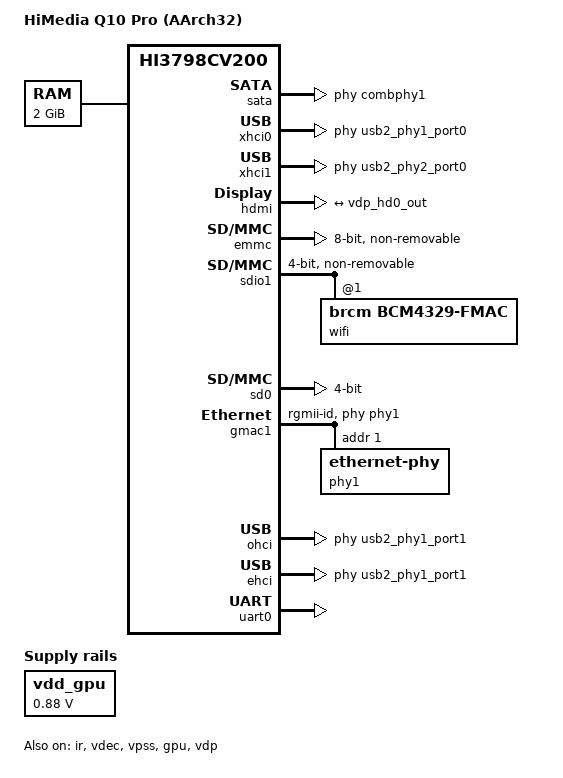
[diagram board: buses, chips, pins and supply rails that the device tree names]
// SPDX-License-Identifier: GPL-2.0
/*
 * DTS for the HiMedia Q10 Pro (HiSilicon Hi3798CV200) — 32-bit ARM (AArch32)
 *
 * ⚠️ UNTESTED ON HARDWARE. Every address, interrupt and clock below is taken from a
 * primary source — the stock firmware's own device tree (extracted from boot.img), the
 * Hi3798CV200 register map in the vendor BSP, and a live read-only recon of the box —
 * but nothing here has been booted. Where a value is a guess it says so.
 *
 * ⭐ Why AArch32 rather than arm64: the stock bootloader is a 32-bit U-Boot and its `bootm`
 * rejects a foreign architecture — the stock kernel uImage is `arch=2` (ARM). Replacing the
 * loader would need DDR timing that is not published plus a serial console, so 32-bit is the
 * only route that keeps the box closed. All four cores still come up, because the secure
 * firmware provides PSCI (trustedcore exports hisi_psci_cpu_on/_off/_suspend and references
 * bl31) and PSCI has an AArch32 SMC calling convention.
 *
 * Requires: 0001-clk-hisilicon-crg-hi3798cv200-add-SATA-clocks.patch
 *           (mainline does not register the SATA clocks)
 *           0002-phy-histb-combphy-allow-32-bit-arm.patch
 *           (PHY_HISTB_COMBPHY is gated on ARM64; the driver itself is arch-neutral)
 *           hi3798cv200.dtsi from scripts/himedia/kernel/arm32/ (generated)
 *
 * Bring-up order matters. First boot should prove serial + eMMC + Ethernet only; USB3 is
 * therefore left disabled below, because an unverified PHY pairing that wedges the USB
 * controller during probe would be indistinguishable from a kernel that failed to boot.
 *
 * ref: docs/261010-himedia-q10-pro-vendor-dtb.md
 * ref: docs/261010-himedia-q10-pro-recon-findings.md
 */

/dts-v1/;

#include <dt-bindings/gpio/gpio.h>
#include <dt-bindings/phy/phy.h>
#include "hi3798cv200.dtsi"

/ {
	model = "HiMedia Q10 Pro (AArch32)";
	compatible = "himedia,q10-pro", "hisilicon,hi3798cv200";

	aliases {
		serial0 = &uart0;
		serial2 = &uart2;
	};

	chosen {
		#address-cells = <1>;
		#size-cells = <1>;
		ranges;

		/* Confirmed from the stock cmdline: console=ttyAMA0,115200 */
		stdout-path = "serial0:115200n8";

		/*
		 * ⭐ HDMI without a display driver: the stock fastboot leaves its boot-logo layer (VDP
		 * G0) scanning out this buffer, and nothing in mainline turns the VDP off. MEASURED
		 * with devmem on the running box (2026-10-11): G0_ADDR 0x7B68C000, G0_IRESO 1920x1080,
		 * G0_STRIDE 0x1E0 x 16 B = 7680, ifmt 0x68 = ARGB8888. ⚠️ G0_CBMPARA has per-pixel
		 * alpha ON (0x11FF) and fbcon draws with alpha 0, so userspace must clear palpha_en
		 * (CBMPARA = 0x01FF, then G0_UPD bit 0) or the text is transparent.
		 */
		framebuffer@7b68c000 {
			compatible = "simple-framebuffer";
			reg = <0x7b68c000 0x7e9000>;
			width = <1920>;
			height = <1080>;
			stride = <7680>;
			format = "a8r8g8b8";
		};
	};

	/*
	 * ⭐ CORE NODES REALIGNED TO THE VENDOR'S OWN DEVICE TREE (from the eMMC dump).
	 *
	 * Found by diffing our converted tree against the vendor's working one — the clue was in
	 * the backup, which had been sitting here the whole time.
	 *
	 * ⛔ 1. `clock-frequency` was MISSING. Under AArch64 the firmware programs CNTFRQ at EL3,
	 *       which is why upstream Poplar omits it. We enter in AArch32 from a 32-bit U-Boot,
	 *       and the vendor states 24 MHz explicitly — so that path evidently does NOT set
	 *       CNTFRQ. Without it the kernel has no timekeeping and dies in early init, silently.
	 * ⚠️ 2. `arm,armv7-timer` is the AArch32 spelling; `armv8-timer` is the arm64 one.
	 * ⚠️ 3. The vendor uses LEVEL_HIGH with a 4-CPU mask (0xf04) and only the two physical
	 *       PPIs. Ours used LEVEL_LOW and four PPIs, copied from the arm64 tree.
	 */
	timer {
		compatible = "arm,armv7-timer";
		interrupts = <1 13 0xf04>,
			     <1 14 0xf04>;
		clock-frequency = <24000000>;
	};

	memory@0 {
		device_type = "memory";
		/*
		 * 2 GB. The stock cmdline reserves 56 MB for the vendor media zone
		 * (mmz=ddr,0,0,56M) and boots with mem=1993M; mainline has no VPU driver,
		 * so that reservation is not needed and the full 2 GB is given to Linux.
		 */
		reg = <0x0 0x80000000>;
	};

	/*
	 * ⭐ The boot log, kept in RAM so ANDROID can read it back after a reset (Tim's idea,
	 * 2026-10-10: "can via android, give us these boot log?"). pstore/ramoops streams the
	 * console into this block live; a watchdog reset keeps DRAM powered; with the stick pulled
	 * the box boots stock Android, whose own `himd.l` (vendor /dev/hi_mem) dumps physical RAM.
	 *
	 * ⛔ The address is MEASURED, not chosen: it is in the free tail of the vendor media zone
	 * (MMZ "ddr" 0x77C00000-0x7B3FFFFF, highest allocation 0x7A582FFF behind the framebuffer).
	 * Markers written at 0x7A800000..0x7B380000 all survived a reset + U-Boot + a full Android
	 * boot. Not at 0x7B300000 itself — that held a byte-ramp that looks like a DDR-training write.
	 *
	 * Layout (fs/pstore/ram.c): 4 x 128 KiB panic/oops records, then the 512 KiB console zone
	 * at 0x7A880000. mem-type 1 = unbuffered: a watchdog reset flushes no cache.
	 * Decode with `bun run himedia:ramoops`.
	 */
	reserved-memory {
		#address-cells = <1>;
		#size-cells = <1>;
		ranges;

		/* The HDMI scan-out buffer above (1920 x 1080 x 4 = 0x7E9000): Linux must never reuse it. */
		framebuffer@7b68c000 {
			reg = <0x7b68c000 0x7e9000>;
			no-map;
		};

		ramoops@7a800000 {
			compatible = "ramoops";
			reg = <0x7a800000 0x100000>;
			console-size = <0x80000>;
			record-size = <0x20000>;
			mem-type = <1>;
		};
	};
};

/*
 * SATA — the reason this box is worth converting.
 *
 * Confirmed: base 0xf9900000 (soc-relative 0x9900000) and IRQ 0x46 both appear in the
 * stock device tree, and the stock tree also uses compatible "generic-ahci", so the
 * mainline generic AHCI driver is the right one.
 *
 * The four clocks are PERI_CRG42 (CRG offset 0xa8) bits 0..3 and the four resets are
 * bits 8..11 of the same register, per the Hi3798CV200 register map:
 *   bit 0 sata_bus_cken        bit 8  sata_bus_srst_req
 *   bit 1 sata_rx0_cken        bit 9  sata_cko_alive_srst_req
 *   bit 2 sata_cko_alive_cken  bit 10 sata_rx0_srst_req
 *   bit 3 sata_tx0_cken        bit 11 sata0_srst_req
 */
&soc {
	/*
	 * ⭐ The SP805 at 0xf8a2c000, bound to mainline's sp805_wdt for ONE reason: its restart
	 * handler. Without it `reboot` (and panic=5) stops at "Restarting system" forever — the
	 * vendor kernel restarts by arming this very watchdog (mach-hi3798cv2x/core.c), mainline
	 * had no handler at all, and a box rebooted that way stayed dead (2026-10-11 16:17).
	 * The kernel never feeds it (watchdog.handle_boot_enabled=0 in bootargs); probe reloads it
	 * with timeout-sec = 150, the same window as init.sh's rootfs safety net (reset ~300 s).
	 * Clock: 24 MHz — the rate every devmem arming in this repo already assumes.
	 */
	watchdog@8a2c000 {
		compatible = "arm,sp805", "arm,primecell";
		reg = <0x8a2c000 0x1000>;
		/*
		 * ⛔ HiSilicon's SP805 has ALL-ZERO PrimeCell ID registers (0xfe0..0xffc, read on the
		 * box 2026-10-11), so the AMBA bus cannot identify it and defers forever ("deferred
		 * probe pending"). Give the ID the driver matches: part 0x805, ARM, rev 1.
		 */
		arm,primecell-periphid = <0x00141805>;
		clocks = <&crg HISTB_OSC_CLK>, <&crg HISTB_APB_CLK>;
		clock-names = "wdog_clk", "apb_pclk";
		timeout-sec = <150>;
	};

	sata: sata@9900000 {
		compatible = "generic-ahci";
		reg = <0x9900000 0x1000>;
		interrupts = <GIC_SPI 70 IRQ_TYPE_LEVEL_HIGH>;
		clocks = <&crg HISTB_SATA_BUS_CLK>,
			 <&crg HISTB_SATA_RX0_CLK>,
			 <&crg HISTB_SATA_CKO_ALIVE_CLK>,
			 <&crg HISTB_SATA_TX0_CLK>;
		resets = <&crg 0xa8 8>,
			 <&crg 0xa8 9>,
			 <&crg 0xa8 10>,
			 <&crg 0xa8 11>;
		reset-names = "bus", "cko-alive", "rx0", "sata0";
		phys = <&combphy1 PHY_TYPE_SATA>;
		phy-names = "sata-phy";
		/*
		 * ⛔ DISABLED for bring-up, deliberately — this is a bisect, not a retreat.
		 *
		 * The kernel boots, configures eth0 from ip= (a late_initcall, so it definitely
		 * ran) and then never execs init, while NOT panicking: steady 8/8 pings with
		 * panic=5, so it is blocked rather than dying. A probe that never returns fits
		 * exactly, and this node is the most suspect thing in the tree: it is new, its
		 * four clocks were added by us, and no disk is attached for the link to train.
		 *
		 * ⚠️ There is also a known gap: the vendor's SATA clock driver pokes
		 * PERI_CRG98_COMBPHY to 0xd00 for a 25 MHz VPLL, which we approximated with
		 * assigned-clock-rates on COMBPHY1_CLK and never verified as equivalent.
		 *
		 * If init runs with this disabled, the SATA path is the hang and that register
		 * write is the first thing to check.
		 *
		 * ⭐ ENABLED 2026-10-11: the kernel now boots to userspace reliably and a disk is in the
		 * bay (Tim). Shipped as its own image AFTER the first ssh boot, so a hang here can only
		 * mean SATA. Fallback: the previous uImage stays on the stick as uImage.ssh-ok.
		 */
		status = "okay";
	};

	/*
	 * USB 3.0. Both controllers exist and both are live under the stock firmware.
	 * This box's stock kernel binds the SuperSpeed port on xhci1 (f98b0000), but the
	 * combo-PHY pairing is the open question — see the note under &combphy1 — so both
	 * stay disabled until first boot succeeds without them.
	 *
	 * Needs no kernel patch: mainline already registers both instances' clocks
	 * (the plain set for xhci0, the *_CLK1 set for xhci1) as gates on CRG 0xb0.
	 */
	xhci0: usb@98a0000 {
		compatible = "hisilicon,hi3798cv200-xhci";
		reg = <0x98a0000 0x10000>;
		interrupts = <GIC_SPI 69 IRQ_TYPE_LEVEL_HIGH>;
		clocks = <&crg HISTB_USB3_BUS_CLK>,
			 <&crg HISTB_USB3_UTMI_CLK>,
			 <&crg HISTB_USB3_PIPE_CLK>,
			 <&crg HISTB_USB3_SUSPEND_CLK>;
		clock-names = "bus", "utmi", "pipe", "suspend";
		resets = <&crg 0xb0 12>;
		reset-names = "soft";
		/*
		 * Side USB3 socket (the only controller with a SuperSpeed lane: combphy0 is USB3-only).
		 * ⭐ usb2_phy1_port0, NOT usb2_phy2_port0 (the old guess): the vendor's host0 init writes
		 * PERI_USB0 (0x120) and releases USB2_PHY01_SRST_TREQ0 (CRG 0xbc bit 8) — vendor
		 * clk-hiusb3.c; docs/261011-himedia-ports-wifi-smp-research.md §2.2.
		 * ⛔ "phys-names" (sic) is what xhci-histb.c reads for its PHY quirks; keep both.
		 * CRG 0xb0 on the running box = 0x007D0060: host0's unmodelled bus gates (bits 5,6) are
		 * already on; only REF_CKEN0 (bit 1) is off, as REF_CKEN1 is for the working xhci1.
		 */
		phys = <&usb2_phy1_port0>, <&combphy0 PHY_TYPE_USB3>;
		phy-names = "usb", "combo";
		phys-names = "inno", "combo";
		status = "okay";
	};

	xhci1: usb@98b0000 {
		compatible = "hisilicon,hi3798cv200-xhci";
		reg = <0x98b0000 0x10000>;
		interrupts = <GIC_SPI 85 IRQ_TYPE_LEVEL_HIGH>;
		clocks = <&crg HISTB_USB3_BUS_CLK1>,
			 <&crg HISTB_USB3_UTMI_CLK1>,
			 <&crg HISTB_USB3_PIPE_CLK1>,
			 <&crg HISTB_USB3_SUSPEND_CLK1>;
		clock-names = "bus", "utmi", "pipe", "suspend";
		/*
		 * ⛔ MEASURED from the vendor's own bring-up of this controller ("usb3 host1",
		 * drivers/hisilicon/clk/hi3798cv2x/clk-hiusb3.c hiclk_enable_usb3_host1):
		 *   reset  = USB3_VCC_SRST_REQ1, CRG 0xb0 BIT 28 — the old guess here was bit 13;
		 *   phy    = the ONE-port USB2 PHY (USB2_PHY2_SRST_REQ bit 6, _TREQ bit 10,
		 *            inno_phy_config_1p) = usb2_phy2, not usb2_phy1 port 1.
		 * Wrong PHY = the controller registers (ramoops log: bus 3/4, 1 port each) but its port
		 * is never powered, so the onboard Genesys hub never enumerates. Android's working
		 * CRG 0xb0 = 0x007f007f (all host1 clocks on, bit 28 clear) and 0xbc = 0x5 agree.
		 */
		resets = <&crg 0xb0 28>;
		reset-names = "soft";
		/*
		 * ⚠️ Deliberately NO combo phy. combphy1 is taken by SATA above, and these
		 * are the same lane — so this controller is USB 2.0 only once SATA is in use.
		 * ⚠️ GUESS: both the usb2-phy pairing and reset bit 13 are unverified.
		 */
		phys = <&usb2_phy2_port0>;
		phy-names = "inno";
		/*
		 * ⛔ "phys-names" is NOT a typo here — it is what xhci-histb.c reads
		 * (of_property_match_string(np, "phys-names", "inno")) to switch the inno USB2 PHY
		 * interface to UTMI 8-bit/no-ULPI. Standard `phy-names` never triggers it.
		 */
		phys-names = "inno";
		/*
		 * ⭐ ENABLED, MEASURED: the boot stick ("USB DISK 3.0" 13fe:6300) sits on THIS controller,
		 * behind an onboard Genesys 05e3:0608 4-port hub (himedia:android-probe, 2026-10-10).
		 * ⚠️ Clocks are mainline's HISTB_USB3_*_CLK1; the vendor clocks this instance with its
		 * USB2 clock (0xbc). If the controller is unclocked a register read can stall the bus —
		 * that would read as a kernel regression (~3:30), not a silent failure.
		 */
		status = "okay";
	};
};

/*
 * combphy1 carries SATA.
 *
 * The mux is already upstream — hi3798cv200.dtsi declares
 * `hisilicon,mode-select-bits = <0x0008 11 (0x3 << 11)>`, which is exactly the vendor's
 * PERI_CTRL offset 0x8 with BIT(11)|BIT(12), encoding 00=PCIe, 01=USB3, 10=SATA. So only
 * the clock rate needs changing: the vendor's SATA path runs this PHY from the 25 MHz
 * VPLL, while the dtsi default is 100 MHz.
 *
 * The combphy1 clock's parent is a mux over {100m, 25m} with CLK_SET_RATE_PARENT, so
 * asking for 25 MHz here selects the 25 MHz parent. (The reference port instead points
 * assigned-clock-parents at driver-private clock ids 0x50/0x42, which are not part of the
 * published binding — this form avoids depending on those.)
 *
 * ⛔ Taking this lane for SATA costs the second USB3 controller its SuperSpeed capability.
 *    That is a hardware constraint, not a configuration choice.
 */
&combphy1 {
	assigned-clocks = <&crg HISTB_COMBPHY1_CLK>;
	assigned-clock-rates = <25000000>;
};

/* eMMC — 16 GB, non-removable, 8-bit. */
&emmc {
	/*
	 * ⚠️ NO pinctrl. Poplar points at a board pinctrl file that does not exist for this
	 * box, so the pads are left as the bootloader muxed them. eMMC is the device the
	 * bootloader itself just read the kernel from, so it is the safest case for this
	 * assumption — but it IS an assumption, and a first boot that cannot find a root
	 * device should suspect it.
	 */
	bus-width = <8>;
	cap-mmc-highspeed;
	non-removable;
	status = "okay";
};

/*
 * WiFi: AP6255 (BCM43455c0) on SDIO1. The stock bcmdhd logged WL_REG_ON = -1 (no GPIO: the
 * module enable is tied or follows the controller's PWREN) and ran on the in-band SDIO IRQ,
 * so neither a pwrseq nor an out-of-band interrupt is described. First bring-up at SD
 * high-speed 50 MHz: the plain dw-mshc glue has no tuning, so no SDR104 yet (vendor ran 100 MHz).
 * Firmware: /lib/firmware/brcm/brcmfmac43455-sdio.{bin,himedia,q10-pro.txt,clm_blob}.
 */
&sdio1 {
	bus-width = <4>;
	max-frequency = <50000000>;
	non-removable;
	cap-sd-highspeed;
	cap-sdio-irq;
	keep-power-in-suspend;
	disable-wp;
	#address-cells = <1>;
	#size-cells = <0>;
	status = "okay";

	wifi@1 {
		compatible = "brcm,bcm4329-fmac";
		reg = <1>;
	};
};

/* SD card slot (the box has one on the side). */
&sd0 {
	bus-width = <4>;
	cap-sd-highspeed;
	status = "okay";
};

/*
 * Gigabit Ethernet. The stock kernel binds f9841000.ethernet, i.e. gmac1 — not gmac0 —
 * and the stock device tree gives phy-mode "rgmii" — but its PHY address is wrong (see below).
 */
&gmac1 {
	phy-handle = <&phy1>;
	phy-mode = "rgmii-id";
	/*
	 * ⛔ Mainline does not read this board's MAC, and the address below is SOURCED, not
	 * copied from a running system: it is ASCII text at offset 0 of the `deviceinfo`
	 * partition in the eMMC backup, beside the serial (HMDB501805000639) and the HDCP
	 * key blob at DRMAddr=0x4000. A plain-text vendor blob at a fixed offset in a
	 * proprietary partition is not an nvmem cell any upstream driver knows how to read,
	 * so pinning it here is the correct and only fix.
	 *
	 * ⛔ RETRACTED: this comment used to say "measured on the first successful boot: the
	 * kernel came up as 02:00:00:00:55:01 (a Sigmastar OUI)". That is FALSE. There has
	 * never been a successful boot, and 02:00:00:00:55:01 is the IP CAMERA at
	 * 192.168.1.55 — verified against `arp -an` on 2026-10-10, byte for byte. It was the
	 * same camera that cost five build-and-boot rounds. Do not read it as evidence that
	 * the mainline gmac driver assigns a random address; nothing here was ever measured
	 * from this board under mainline.
	 * ref: docs/261010-himedia-backup-forensics-and-boot-scenarios.md
	 */
	local-mac-address = [00 66 de 0e fe b7];
	/*
	 * ⛔ The PHY must be a DIRECT child of the gmac node — no `mdio {}` wrapper.
	 * hix5hd2_gmac registers its MDIO bus on the gmac node itself
	 * (`of_mdiobus_register(bus, dev->of_node)`) and of_mdio scans direct children only, so a
	 * wrapper has no `reg`, is skipped, the PHY is never registered and open() fails. This
	 * is how the box booted through every initcall and still never appeared on the LAN.
	 * Poplar (`&gmac1 { phy@3 }`) and the vendor arm32 tree (`higmac1 { ethernet_phy@1 {
	 * reg = <3>; } }`) both use this shape.
	 */
	#address-cells = <1>;
	#size-cells = <0>;
	/*
	 * ⛔ Required once the "phy" reset resolves (RESET_TI_SYSCON=y): the driver then reads
	 * this property and fails probe with `goto out_disable_clk` if it is absent.
	 * Order: pre, pulse, post-deassert, in microseconds.
	 *
	 * ⭐ The VENDOR's timing for this SoC, not Poplar's. higmac/board.c holds the PHY in reset
	 * for 20 ms and waits 50 ms before any MDIO access ("delay some time to ensure later MDIO
	 * access"); Poplar's 10/30 ms gave verdict DOWN (2:05, 2026-10-10) — eth0 registered but
	 * open() could not attach the PHY. Post-deassert doubled again for margin; a longer wait
	 * cannot hurt a PHY, a shorter one can leave it silent on MDIO.
	 */
	hisilicon,phy-reset-delays-us = <10000 20000 100000>;
	status = "okay";

	/*
	 * ⛔ MDIO ADDRESS 1, MEASURED — not 3. The stock vendor kernel registers this board's PHY
	 * as `f9841000.etherne:01`, id 0x001cc915 (Realtek RTL8211E), link Up 1Gbps/Full
	 * (himedia:android-probe, 2026-10-10). The vendor DT says `reg = <0x03>` on a node it names
	 * `ethernet_phy@1`; we copied the 3, the MDIO scan found nothing there, phy_connect failed
	 * and eth0 stayed DOWN (FAST verdict, 2:05). Poplar's 3 was never this board's number.
	 *
	 * ⭐ phy-mode "rgmii-id" — MEASURED live on 2026-10-11 (q10-mii + 10 router pings per
	 * setting): the RTL8211E's strap pins select BOTH clock delays (ext 0xa4/0x1c straps 10/10,
	 * both-forced 10/10, either alone 0/10, none 0/10). Plain "rgmii" makes mainline's
	 * rtl8211e_config_init force them OFF, which is what kept RX at 0 on 2026-10-10.
	 * hix5hd2 accepts rgmii-id only with patch 0003. docs/261011-himedia-ssh-rootfs.md
	 */
	phy1: ethernet-phy@1 {
		reg = <1>;
	};
};

/*
 * ⭐ USB 2.0 host, so PID 1 can write the kernel log to the boot stick. The stock U-Boot loads
 * our uImage through EHCI ("USB EHCI %x.%02x" in fastboot.img), so this controller pair is the
 * one already proven to see this stick. Poplar enables exactly these two, nothing more.
 * xHCI stays disabled: its usb2-phy pairing is still a guess.
 */
/*
 * ⛔ RETRACTED (2026-10-10): this gave EHCI/OHCI both usb2_phy1 ports. It changed nothing, and
 * the android-probe showed why — the stick is on xHCI f98b0000, behind an onboard Genesys hub;
 * EHCI has nothing attached in the vendor kernel. Port 1 belongs to xhci1 below, alone.
 * Original note, kept for the record: BOTH usb2_phy1 ports, not just port 0 as Poplar has it. The vendor's host-controller init
 * for this SoC (drivers/hisilicon/clk/hi3798cv2x/clk-hiusb2.c) holds and then cancels the reset
 * of PHY port **1** (USB2_PHY01_SRST_TREQ1, CRG 0xbc bit 9) — port 0 is the OTG-muxed one. With
 * only port 0 listed, nothing ever took port 1 out of reset: root hubs registered, no device in
 * 30 s (NO_STICK twice, 2026-10-10). usb_phy_roothub_alloc() inits and powers every phandle in
 * `phys`, so listing both is the whole fix. xhci1 also names port 1 but stays disabled.
 */
/*
 * ⛔ The comment above said "listing port 1 is the whole fix" but these overrides never set it,
 * so EHCI/OHCI kept the dtsi's port 0 (now xhci0's) and PHY port 1 stayed in reset
 * (CRG 0xbc = 0x205 vs Android's 0x005). That port is the SIDE USB2 socket: releasing bit 9 by
 * hand enumerated a Logitech keyboard/trackpad receiver on OHCI at once (2026-10-12, Tim plugged it).
 */
&ohci {
	phys = <&usb2_phy1_port1>;
	status = "okay";
};

&ehci {
	phys = <&usb2_phy1_port1>;
	status = "okay";
};

&uart0 {
	status = "okay";
};

&ir {
	status = "okay";
};

/*
 * ⛔ PCIe stays DISABLED. It is the third option on combphy1's mux, so enabling it would
 * contend with SATA — and the recon found no PCIe device on this board anyway
 * (/sys/bus/pci/devices/ is empty; the Wi-Fi module is SDIO on mmc2).
 */

/*
 * ⛔ PSCI REMOVED — the vendor device tree has no psci node whatsoever, and its kernel brings
 * all four cores up through BSP code that is not in mainline. That is evidence this firmware
 * may not expose PSCI to an AArch32 non-secure world, despite `trustedcore` containing
 * hisi_psci_* symbols (which the TEE may use internally rather than export via SMC).
 *
 * A psci node that cannot be serviced makes the kernel issue SMC calls into nothing during
 * early CPU setup, which hangs with no output. Dropping it costs SMP — the box comes up
 * single-core — which is an acceptable price for a first boot. Re-add it afterwards to see
 * whether the other three cores can be brought online.
 */
/delete-node/ &{/psci};

/*
 * ⭐ SMP the vendor way (patch 0005): SRAM boot stub at 0xffff0000 + CRG core resets, no PSCI.
 * docs/261011-himedia-ports-wifi-smp-research.md §4.
 */
&{/cpus/cpu@0} { enable-method = "hisilicon,hi3798cv200-smp"; };
&{/cpus/cpu@1} { enable-method = "hisilicon,hi3798cv200-smp"; };
&{/cpus/cpu@2} { enable-method = "hisilicon,hi3798cv200-smp"; };
&{/cpus/cpu@3} { enable-method = "hisilicon,hi3798cv200-smp"; };

/*
 * ⭐ Hardware video decode (VDEC + VPSS), patches 0008/0009 — from vdec-dt-snippet.dtsi
 * (parts A + B; part C, the dedicated pool, is skipped for bring-up: cma=128M in bootargs).
 * Drivers are MODULES: nothing here probes until `modprobe histb-vdec`.
 */
&soc {
	/*
	 * VDH video decoder + SCD (stream code detector) + BPD (bit-plane
	 * decoder, VC-1) + VDH MMU.  One register window: the driver programs
	 * all four from this single mapping (vendor sysconfig.h: VDM 0xf8c30000,
	 * SCD 0xf8c3c000, BPD 0xf8c3d000, MMU at +0xf000).
	 */
	vdec: video-codec@8c30000 {
		/* Matched by histb-vdec; see the binding added by 0008. */
		compatible = "hisilicon,hi3798cv200-vdec";

		/* Soc-relative 0x8c30000 = physical 0xf8c30000, 64 KiB. [read] */
		reg = <0x8c30000 0x10000>;

		/*
		 * Three SPIs, GIC numbers (the vendor numbers are these minus 32):
		 *   vdh = 95   decode-done / error of the pixel engine
		 *   scd = 104  stream code detector
		 *   mmu = 149  VDH MMU fault (non-secure)
		 * The driver requests "vdh" only (platform_get_irq_byname) and reads
		 * the SCD/MMU status registers from that handler; "scd" and "mmu" are
		 * required by the binding but not requested. [read] histb-vdec-core.c
		 */
		interrupts = <GIC_SPI 95 IRQ_TYPE_LEVEL_HIGH>,
			     <GIC_SPI 104 IRQ_TYPE_LEVEL_HIGH>,
			     <GIC_SPI 149 IRQ_TYPE_LEVEL_HIGH>;
		interrupt-names = "vdh", "scd", "mmu";

		/*
		 * Gates from patch 0009: CRG 0x78 bit 0, CRG 0x78 bit 1, CRG 0x88
		 * bit 0.  The driver also writes the VDH clock-select field
		 * (CRG 0x78 bits [9:8]) itself through the crg regmap, so these
		 * gates have no rate parent.
		 */
		clocks = <&crg HISTB_VDH_CLK>,
			 <&crg HISTB_VDH_DSP_CLK>,
			 <&crg HISTB_BPD_CLK>;
		clock-names = "vdh", "dsp", "bpd";

		/*
		 * crg reset cells are <register-offset bit> in OUR dtsi
		 * (#reset-cells = <2>), as in the community tree:
		 *   vdh = CRG 0x78 bit 4   decode engine
		 *   scd = CRG 0x78 bit 5   stream code detector
		 *   mfd = CRG 0x78 bit 6   main format decoding engine
		 *   bpd = CRG 0x88 bit 4   bit-plane decoder
		 * The driver also pulses the same bits by hand through the crg
		 * regmap for a full pipeline reset and waits for the ack in
		 * CRG 0x174 (HISTB_CRG_RESET_STATUS). [read]
		 */
		resets = <&crg 0x78 4>, <&crg 0x78 5>,
			 <&crg 0x78 6>, <&crg 0x88 4>;
		reset-names = "vdh", "scd", "mfd", "bpd";

		/*
		 * Mandatory: the tile -> linear step lives in the VPSS and the
		 * decoder takes a reference on it (histb_vpss_get()).  Probe
		 * defers until the vpss device is bound.
		 */
		hisilicon,vpss = <&vpss>;

		/*
		 * No `iommus`: the VDH MMU stays in bypass for every codec in this
		 * port (only the removed AVS path used it).  The driver also does
		 * syscon_regmap_lookup_by_compatible("hisilicon,hi3798cv200-crg"),
		 * which our crg node already satisfies ("hisilicon,hi3798cv200-crg",
		 * "syscon", "simple-mfd") - nothing to add.
		 *
		 * `memory-region = <&vdec_pool>;` is added by PART C if wanted.
		 */
		status = "disabled";
	};

	/*
	 * VPSS: converts the decoder's native tile surfaces to linear NV12/P010
	 * (the only way the CAPTURE queue can be linear), does ZME scaling and
	 * field-rate deinterlace.  It has no /dev node of its own.
	 */
	vpss: video-post-processing@8cb0000 {
		compatible = "hisilicon,hi3798cv200-vpss";

		/* Soc-relative 0x8cb0000 = physical 0xf8cb0000, 64 KiB. [read] */
		reg = <0x8cb0000 0x10000>;

		/* GIC SPI 93, level high. [read] */
		interrupts = <GIC_SPI 93 IRQ_TYPE_LEVEL_HIGH>;

		/*
		 * Gate in CRG 0xf0 bit 0, fed by vpss_mux (CRG 0xf0 bits [9:8] ->
		 * 333 / 400 / 300 MHz).  Both come from patch 0009.
		 */
		clocks = <&crg HISTB_VPSS_CLK>;
		clock-names = "core";

		/* CRG 0xf0 bit 4. [read] */
		resets = <&crg 0xf0 4>;
		reset-names = "core";

		status = "disabled";
	};
};

/* ======================================================================== */
/* PART B: board dts - switch both on                                       */
/* ======================================================================== */

&vpss {
	status = "okay";
};

&vdec {
	/* memory-region = <&vdec_pool>;   <- PART C, optional */
	status = "okay";
};

/*
 * ⭐ GPU: Mali-T720 for Panfrost (patch 0010: GPU clock, HISTB_GPU_CLK = 61) — from
 * gpu-dt-snippet.dtsi. panfrost is BLACKLISTED on the rootfs until proven (q10-untested.conf).
 */
/ {
	/*
	 * Placeholder supply for panfrost's mandatory "mali" regulator lookup.
	 *
	 * The SoC can drive a core-voltage PWM at 0xf8a23020 (the community tree
	 * has a driver for it, "hisilicon,hi3798cv200-gpu-regulator"), but a
	 * retail box is under no obligation to wire that PWM to a DC-DC; the
	 * Q10 Pro's wiring is NOT known. [inferred]  Writing a PWM duty to a
	 * rail that is not connected does nothing, and writing one to a rail
	 * that IS connected can under- or over-volt the core.  So: no
	 * controllable regulator, no voltage changes (stage 1 also had no OPP
	 * table; stage 2 adds a frequency-only one, below).  The GPU
	 * runs at whatever voltage the stock bootloader left on the core rail.
	 *
	 * DVFS STAGE 2 (docs/261012-himedia-dvfs-stage2.md): the voltage IS known now.  Read on the
	 * box at boot: PMC+0x20 = 0x006D00C9 = 880 mV, which is the vendor's voltage for every GPU
	 * rate 200..500 MHz (600 needs 920, 675 needs 980: NOT in the table).  So this fixed supply
	 * says 880 mV, the OPPs below say 880 mV, and the OPP core's "set 880 mV" is a no-op.  The
	 * core rail (shared with video/display) is never written.
	 */
	vdd_gpu: regulator-vdd-gpu {
		compatible = "regulator-fixed";
		regulator-name = "vdd-gpu";
		regulator-min-microvolt = <880000>;
		regulator-max-microvolt = <880000>;
		regulator-always-on;
		regulator-boot-on;
	};

	/*
	 * GPU OPPs: frequency only, 200..500 MHz, all at 880 mV (vendor gpu@f9200000 table, research
	 * s4.2).  The clock (patch 0010) accepts exactly these rates plus 600/675, which are left out.
	 * panfrost registers devfreq with simple_ondemand; /sys/class/devfreq/f9200000.gpu/.
	 * Fallback: delete the operating-points-v2 line of &gpu and panfrost stays at 200 MHz.
	 */
	gpu_opp: opp-table-gpu {
		compatible = "operating-points-v2";

		opp-200000000 {
			opp-hz = /bits/ 64 <200000000>;
			opp-microvolt = <880000>;
		};
		opp-300000000 {
			opp-hz = /bits/ 64 <300000000>;
			opp-microvolt = <880000>;
		};
		opp-400000000 {
			opp-hz = /bits/ 64 <400000000>;
			opp-microvolt = <880000>;
		};
		/*
		 * No 500 MHz: the vendor lists it at 880 mV, but on this box it hung the GPU under a
		 * Chromium WebGL load twice on fresh boots (gpu sched timeouts + js faults, 2026-10-12),
		 * while 400 MHz ran the same 60 s load clean at 59.9 fps (vsync-capped; 200 MHz = 40 fps).
		 */
	};
};

&soc {
	/*
	 * Mali-T720, 16 KiB register window at physical 0xf9200000.  Soc-relative
	 * like every other node here (soc ranges = <0x0 0xf0000000 0x10000000>).
	 *
	 * WHY INSIDE &soc (the community tree put it at the TOP level):
	 * there the soc node carries a 1 GiB dma-ranges, so the Mali was moved
	 * out to inherit the unrestricted root window.  Our soc node already
	 * has a 2 GiB dma-ranges (<0x0 0x0 0x80000000>) that covers all of RAM
	 * (mem=1993M, top 0x7c900000), so no buffer the GPU can be handed is
	 * out of its reach and the workaround is unnecessary.  Staying in &soc
	 * keeps the one-bus-one-window rule and the soc-relative addressing of
	 * vdec/vpss.  Panfrost's MMU is LPAE with a 40-bit mask, which the
	 * 2 GiB window narrows to 31 bits via the bus limit - fine. [inferred]
	 * If RAM ever grows past 2 GiB, widen the soc dma-ranges, not this node.
	 *
	 * NOT dma-coherent: the T720 has no ACE-Lite port. [inferred]
	 */
	gpu: gpu@9200000 {
		compatible = "arm,mali-t720";
		reg = <0x9200000 0x4000>;
		/* GIC SPI numbers (physical IRQ = SPI + 32). [read] community dtsi */
		interrupts = <GIC_SPI 142 IRQ_TYPE_LEVEL_HIGH>,
			     <GIC_SPI 141 IRQ_TYPE_LEVEL_HIGH>,
			     <GIC_SPI 143 IRQ_TYPE_LEVEL_HIGH>;
		interrupt-names = "job", "mmu", "gpu";

		/*
		 * Patch 0010.  The clock owns gate AND soft reset (CRG 0xd4
		 * bits 0 and 4), so there is deliberately NO `resets` here:
		 * a second owner of bit 4 could leave the GPU held in reset
		 * behind the clock's back.  The community tree lists
		 * `resets = <&crg 0xd4 4>` as well; with our 0010 that is
		 * harmless but redundant. [inferred]
		 */
		clocks = <&crg HISTB_GPU_CLK>;
		clock-names = "core";

		mali-supply = <&vdd_gpu>;
		operating-points-v2 = <&gpu_opp>;

		/*
		 * Bring-up: leave the rate at the clock's safe default (200 MHz,
		 * the vendor's index 0).  Once the driver is stable, uncomment to
		 * pin 400 MHz - the highest point that needs no voltage change in
		 * the vendor table (opp 200..500 MHz are all 880 mV; 600 and
		 * 675 MHz need more). [read] community dvbip.dtsi OPP table.
		 * Valid rates: 200/300/400/500/600/675 MHz.
		 */
		/* assigned-clocks = <&crg HISTB_GPU_CLK>; */
		/* assigned-clock-rates = <400000000>; */

		status = "disabled";
	};
};

/* ======================================================================== */
/* PART B: board dts - switch it on                                         */
/* ======================================================================== */

&gpu {
	status = "okay";
};

/*
 * ⭐ VDP display controller + HDMI transmitter (patches 0011/0012, 0015-0017).
 * Both are modules (histb-vdp, histb-hdmi), blacklisted on the rootfs; loading histb-vdp evicts
 * simpledrm (no return until reboot) and pulls histb-hdmi in first.
 *
 * What loading does to the hardware: NOTHING.  histb-vdp adopts the mode DHD0 is running and
 * histb-hdmi leaves the transmitter alone.  The `resets` below are only ACQUIRED at load; the VDP
 * reset (CRG 0xd8 bit 30) and the HDMI bus/core/phy resets are pulsed once, by the first atomic
 * commit that asks for a mode other than the bootloader's 1080p.
 *
 * `pixel` is the HDMI pixel clock (HPLL, clk-hi3798cv200-hdmi.c): histb-vdp sets its RATE
 * (it is never enabled by the VDP), histb-hdmi owns its gate.  Remove the `ports` links, or load
 * histb-vdp with modeset=0, and the old fixed-mode connector comes back.
 */
&soc {
	vdp: display-controller@8cc0000 {
		compatible = "hisilicon,hi3798cv200-vdp";
		reg = <0x8cc0000 0x10000>;
		interrupts = <GIC_SPI 90 IRQ_TYPE_LEVEL_HIGH>;
		clocks = <&crg HISTB_VO_BUS_CLK>,
			 <&crg HISTB_VO_HD_CLK>,
			 <&crg HISTB_VDP_CFG_CLK>,
			 <&crg HISTB_VDP_HD_CLK>,
			 <&crg HISTB_VDP_G0_CLK>,
			 <&crg HISTB_VDP_V0_CLK>,
			 <&crg HISTB_VO_BP_CLK>,
			 <&crg HISTB_HDMI_PIXEL_CLK>;
		clock-names = "bus", "hd", "config", "core", "graphics", "video", "bp", "pixel";
		resets = <&crg 0xd8 30>;
		reset-names = "vdp";
		status = "okay";

		ports {
			#address-cells = <1>;
			#size-cells = <0>;

			port@0 {
				reg = <0>;

				vdp_hd0_out: endpoint {
					remote-endpoint = <&hdmi_in>;
				};
			};
		};
	};

	/*
	 * Silicon Image "imagev200" TX core + HiSilicon PHY at 0xf8ce0000 (not DesignWare).
	 * hisilicon,hpd-poll: hot-plug by polling the TX every 100 ms instead of taking SPI 88 -
	 * the interrupt polarity is only programmed by the vendor init, which probe does not run.
	 */
	hdmi: hdmi@8ce0000 {
		compatible = "hisilicon,hi3798cv200-hdmi";
		reg = <0x8ce0000 0x20000>;
		interrupts = <GIC_SPI 88 IRQ_TYPE_LEVEL_HIGH>,
			     <GIC_SPI 147 IRQ_TYPE_LEVEL_HIGH>;
		interrupt-names = "tx", "cec";
		clocks = <&crg HISTB_HDMI_BUS_CLK>,
			 <&crg HISTB_HDMI_CEC_CLK>,
			 <&crg HISTB_HDMI_ID_CLK>,
			 <&crg HISTB_HDMI_MHL_CLK>,
			 <&crg HISTB_HDMI_OS_CLK>,
			 <&crg HISTB_HDMI_AS_CLK>,
			 <&crg HISTB_HDMI_X_CLK>,
			 <&crg HISTB_HDMI_PIXEL_NX_CLK>,
			 <&crg HISTB_HDMI_PIXEL_CLK>;
		clock-names = "bus", "cec", "id", "mhl", "os", "as", "x",
			      "pixel-nx", "pixel";
		resets = <&crg 0x10c 8>, <&crg 0x10c 9>, <&crg 0x110 4>;
		reset-names = "bus", "core", "phy";
		hisilicon,perictrl = <&perictrl 0x8b0>;
		hisilicon,hpd-poll;
		status = "okay";

		ports {
			#address-cells = <1>;
			#size-cells = <0>;

			port@0 {
				reg = <0>;

				hdmi_in: endpoint {
					remote-endpoint = <&vdp_hd0_out>;
				};
			};

			port@1 {
				reg = <1>;

				hdmi_out: endpoint {
				};
			};
		};
	};
};
